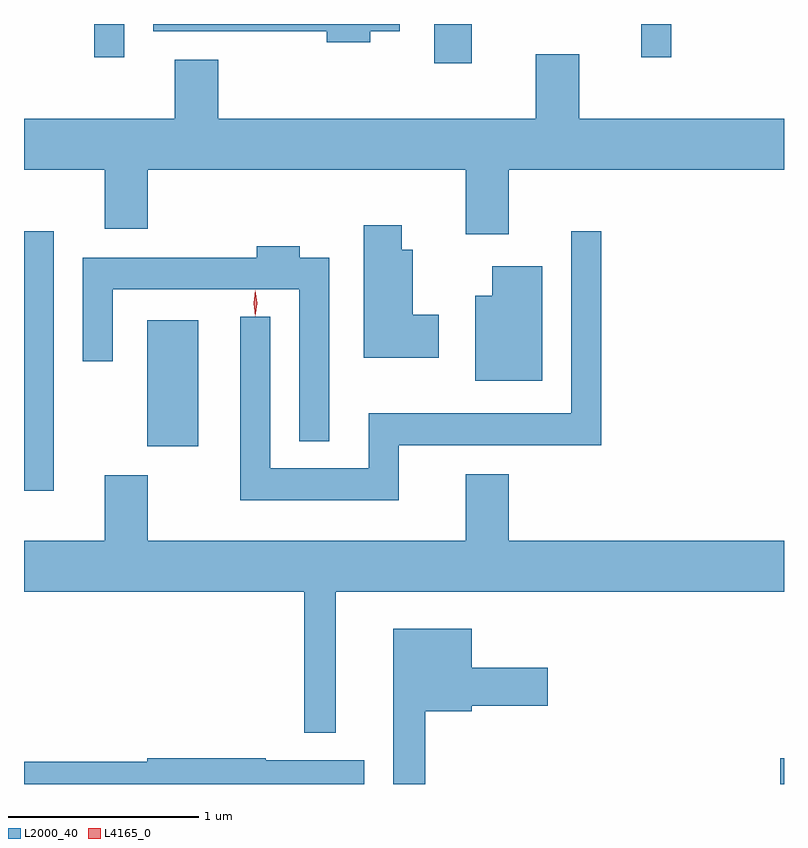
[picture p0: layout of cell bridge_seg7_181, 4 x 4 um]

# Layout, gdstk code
import gdstk
lib = gdstk.Library(unit=1e-6, precision=1e-09)
def R(c, l, rs):  # rectangles x0, y0, x1, y1
    for r in rs: c.add(gdstk.rectangle(r[:2], r[2:], *l))
def P(c, l, *ps):  # polygons
    for p in ps: c.add(gdstk.Polygon(p, *l))
L2000_40 = (2000, 40)
L4165_0 = (4165, 0)

bridge_seg7_181 = lib.new_cell('bridge_seg7_181')
R(bridge_seg7_181, L2000_40, [(1502.496,1695.543,1502.517,1695.679), (1498.517,1697.086,1498.674,1698.453), (1499.166,1697.321,1499.434,1697.984), (1500.676,1699.336,1500.874,1699.543), (1498.886,1699.368,1499.044,1699.543), (1501.766,1699.368,1501.924,1699.543)])
P(bridge_seg7_181, L2000_40, [(1500.339,1699.506),(1500.494,1699.506),(1500.494,1699.543),(1499.196,1699.543),(1499.196,1699.506),(1500.111,1699.506),(1500.111,1699.446),(1500.339,1699.446)],
  [(1501.069,1698.776),(1502.517,1698.776),(1502.517,1699.044),(1501.439,1699.044),(1501.439,1699.384),(1501.211,1699.384),(1501.211,1699.044),(1499.539,1699.044),(1499.539,1699.354),(1499.311,1699.354),(1499.311,1699.044),(1498.517,1699.044),(1498.517,1698.776),(1498.941,1698.776),(1498.941,1698.466),(1499.169,1698.466),(1499.169,1698.776),(1500.841,1698.776),(1500.841,1698.436),(1501.069,1698.436)],
  [(1500.699,1698.014),(1500.564,1698.014),(1500.564,1698.354),(1500.504,1698.354),(1500.504,1698.484),(1500.306,1698.484),(1500.306,1697.786),(1500.699,1697.786)],
  [(1500.489,1697.326),(1501.554,1697.326),(1501.554,1698.453),(1501.396,1698.453),(1501.396,1697.494),(1500.331,1697.494),(1500.331,1697.204),(1499.814,1697.204),(1499.814,1698.003),(1499.656,1698.003),(1499.656,1697.036),(1500.489,1697.036)],
  [(1500.124,1698.314),(1499.969,1698.314),(1499.969,1698.374),(1499.741,1698.374),(1499.741,1698.314),(1498.826,1698.314),(1498.826,1697.768),(1498.984,1697.768),(1498.984,1698.146),(1499.966,1698.146),(1499.966,1697.348),(1500.124,1697.348)],
  [(1501.244,1698.269),(1500.981,1698.269),(1500.981,1698.114),(1500.891,1698.114),(1500.891,1697.666),(1501.244,1697.666)],
  [(1500.159,1696.556),(1502.517,1696.556),(1502.517,1696.824),(1501.069,1696.824),(1501.069,1697.174),(1500.841,1697.174),(1500.841,1696.824),(1499.169,1696.824),(1499.169,1697.169),(1498.941,1697.169),(1498.941,1696.824),(1498.517,1696.824),(1498.517,1696.556),(1499.991,1696.556),(1499.991,1695.813),(1500.159,1695.813)],
  [(1500.629,1695.926),(1500.874,1695.926),(1500.874,1695.956),(1501.274,1695.956),(1501.274,1696.154),(1500.874,1696.154),(1500.874,1696.359),(1500.461,1696.359),(1500.461,1695.543),(1500.629,1695.543)],
  [(1500.309,1695.669),(1499.79,1695.669),(1499.79,1695.679),(1499.166,1695.679),(1499.166,1695.659),(1498.517,1695.659),(1498.517,1695.543),(1500.309,1695.543)])
P(bridge_seg7_181, L4165_0, [(1499.734,1698.004),(1499.725,1698.073),(1499.734,1698.142),(1499.735,1698.143),(1499.735,1698.142),(1499.745,1698.073),(1499.735,1698.004),(1499.735,1698.004)],
  [(1499.734,1698.007),(1499.725,1698.074),(1499.734,1698.14),(1499.735,1698.14),(1499.735,1698.14),(1499.745,1698.074),(1499.735,1698.007),(1499.735,1698.007)])

lib.write_gds('bridge_seg7_181.gds')
